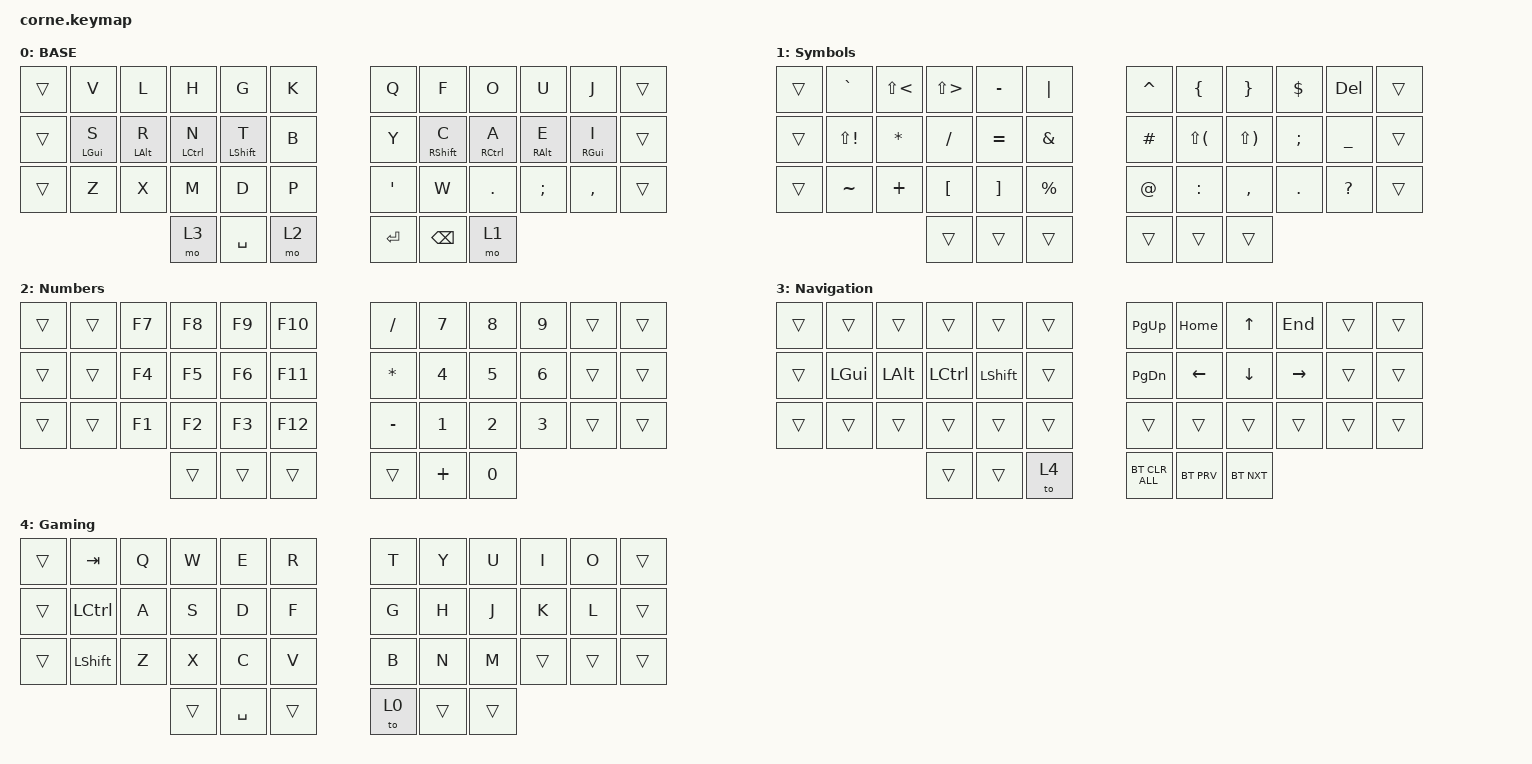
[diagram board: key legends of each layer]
/*
 * Copyright (c) 2020 The ZMK Contributors
 *
 * SPDX-License-Identifier: MIT
 */

#include <behaviors.dtsi>
#include <dt-bindings/zmk/bt.h>
#include <dt-bindings/zmk/keys.h>

&mt {
    tapping-term-ms = <175>;
    quick-tap-ms = <100>;
    flavor = "tap-preferred";
};

/ {
    combos {
        compatible = "zmk,combos";

        Tab {
            bindings = <&kp TAB>;
            key-positions = <1 2>;
        };

        Escape {
            bindings = <&kp ESCAPE>;
            key-positions = <0 1>;
        };
    };

    keymap {
        compatible = "zmk,keymap";

        Base {
            display-name = "BASE";

            // -----------------------------------------------------------------------------------------
            // |  TAB |  Q  |  W  |  E  |  R  |  T  |   |  Y  |  U   |  I  |  O  |  P  | BSPC |
            // | CTRL |  A  |  S  |  D  |  F  |  G  |   |  H  |  J   |  K  |  L  |  ;  |  '   |
            // | SHFT |  Z  |  X  |  C  |  V  |  B  |   |  N  |  M   |  ,  |  .  |  /  | ESC  |
            //                    | GUI | LWR | SPC |   | ENT | RSE  | ALT |

            bindings = <
&trans  &kp V           &kp L           &kp H        &kp G             &kp K    &kp Q    &kp F              &kp O        &kp U            &kp J            &trans
&trans  &mt LEFT_GUI S  &mt LEFT_ALT R  &mt LCTRL N  &mt LEFT_SHIFT T  &kp B    &kp Y    &mt RIGHT_SHIFT C  &mt RCTRL A  &mt RIGHT_ALT E  &mt RIGHT_GUI I  &trans
&trans  &kp Z           &kp X           &kp M        &kp D             &kp P    &kp SQT  &kp W              &kp DOT      &kp SEMI         &kp COMMA        &trans
                                        &mo 3        &kp SPACE         &mo 2    &kp RET  &kp BSPC           &mo 1
            >;
        };

        Symbols {
            bindings = <
&trans  &kp GRAVE     &kp LS(LT)    &kp LS(GT)        &kp MINUS          &kp PIPE       &kp CARET    &kp LEFT_BRACE            &kp RIGHT_BRACE            &kp DOLLAR  &kp DELETE  &trans
&trans  &kp LS(EXCL)  &kp ASTERISK  &kp SLASH         &kp EQUAL          &kp AMPS       &kp POUND    &kp LS(LEFT_PARENTHESIS)  &kp LS(RIGHT_PARENTHESIS)  &kp SEMI    &kp UNDER   &trans
&trans  &kp TILDE     &kp PLUS      &kp LEFT_BRACKET  &kp RIGHT_BRACKET  &kp PERCENT    &kp AT_SIGN  &kp COLON                 &kp COMMA                  &kp PERIOD  &kp QMARK   &trans
                                    &trans            &trans             &trans         &trans       &trans                    &trans
            >;
        };

        Numbers {
            bindings = <
&trans  &trans  &kp F7  &kp F8  &kp F9  &kp F10    &kp SLASH     &kp N7    &kp N8  &kp N9  &trans  &trans
&trans  &trans  &kp F4  &kp F5  &kp F6  &kp F11    &kp ASTERISK  &kp N4    &kp N5  &kp N6  &trans  &trans
&trans  &trans  &kp F1  &kp F2  &kp F3  &kp F12    &kp MINUS     &kp N1    &kp N2  &kp N3  &trans  &trans
                        &trans  &trans  &trans     &trans        &kp PLUS  &kp N0
            >;
        };

        Navigation {
            bindings = <
&trans  &trans        &trans        &trans     &trans          &trans    &kp PG_UP       &kp HOME    &kp UP      &kp END    &trans  &trans
&trans  &kp LEFT_GUI  &kp LEFT_ALT  &kp LCTRL  &kp LEFT_SHIFT  &trans    &kp PG_DN       &kp LEFT    &kp DOWN    &kp RIGHT  &trans  &trans
&trans  &trans        &trans        &trans     &trans          &trans    &trans          &trans      &trans      &trans     &trans  &trans
                                    &trans     &trans          &to 4     &bt BT_CLR_ALL  &bt BT_PRV  &bt BT_NXT
            >;
        };

        Gaming {
            bindings = <
&trans  &kp TAB           &kp Q  &kp W   &kp E      &kp R     &kp T  &kp Y   &kp U   &kp I   &kp O   &trans
&trans  &kp LEFT_CONTROL  &kp A  &kp S   &kp D      &kp F     &kp G  &kp H   &kp J   &kp K   &kp L   &trans
&trans  &kp LEFT_SHIFT    &kp Z  &kp X   &kp C      &kp V     &kp B  &kp N   &kp M   &trans  &trans  &trans
                                 &trans  &kp SPACE  &trans    &to 0  &trans  &trans
            >;
        };
    };
};
